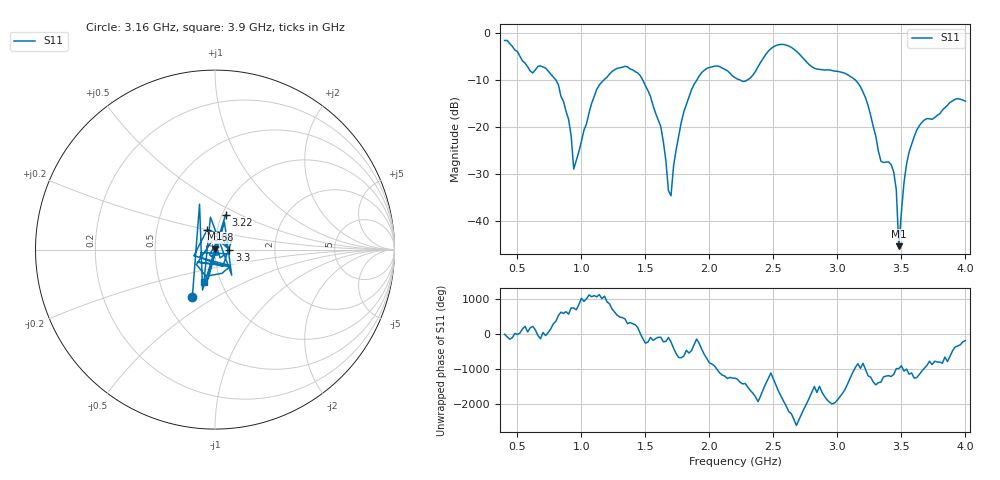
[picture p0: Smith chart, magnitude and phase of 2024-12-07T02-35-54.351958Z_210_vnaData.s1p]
!Created with skrf (http://scikit-rf.org).
# Hz S RI R 50.0
!freq ReS11 ImS11
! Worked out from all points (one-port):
!   181 points, 400 MHz to 4 GHz, reference 50 ohm
!   lowest |S11| = -45.3 dB at 3.48 GHz (marker M1), VSWR 1.01, Z = 49.9 + j0.528 ohm
!   |S11| at or under -10 dB: 799.8 MHz to 1.176 GHz (376.6 MHz wide, 38.1 % of centre); 1.479 GHz to 1.903 GHz (423.9 MHz wide, 25.1 % of centre); 3.14 GHz to end of sweep (the widest 3 of 4)
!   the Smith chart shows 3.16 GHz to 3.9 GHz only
!   S11 on the Smith chart (normalised r, x): 3.16 GHz: 0.68, -0.40; 3.22 GHz: 1.04, +0.42; 3.3 GHz: 1.17, -0.00; 3.68 GHz: 0.90, +0.20; 3.9 GHz: 0.83, -0.31
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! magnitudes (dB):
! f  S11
! 400 MHz  -1.6
! 620 MHz  -8.5
! 720 MHz  -7.5
! 860 MHz  -14.5
! 920 MHz  -21.9
! 940 MHz  -28.9
! 1.12 GHz  -12.0
! 1.3 GHz  -7.4
! 1.54 GHz  -13.5
! 1.62 GHz  -19.9
! 1.7 GHz  -34.6
! 1.76 GHz  -22.0
! 1.94 GHz  -8.5
! 2.2 GHz  -9.5
! 2.66 GHz  -3.5
! 3.1 GHz  -9.3
! 3.16 GHz  -10.6
! 3.22 GHz  -13.8
! 3.3 GHz  -21.9
! 3.34 GHz  -27.3
! 3.44 GHz  -29.6
! 3.46 GHz  -33.3
! 3.48 GHz  -45.3
! 3.52 GHz  -31.9
! 3.56 GHz  -25.3
! 3.68 GHz  -18.5
! 3.9 GHz  -14.4
! 4 GHz  -14.5
